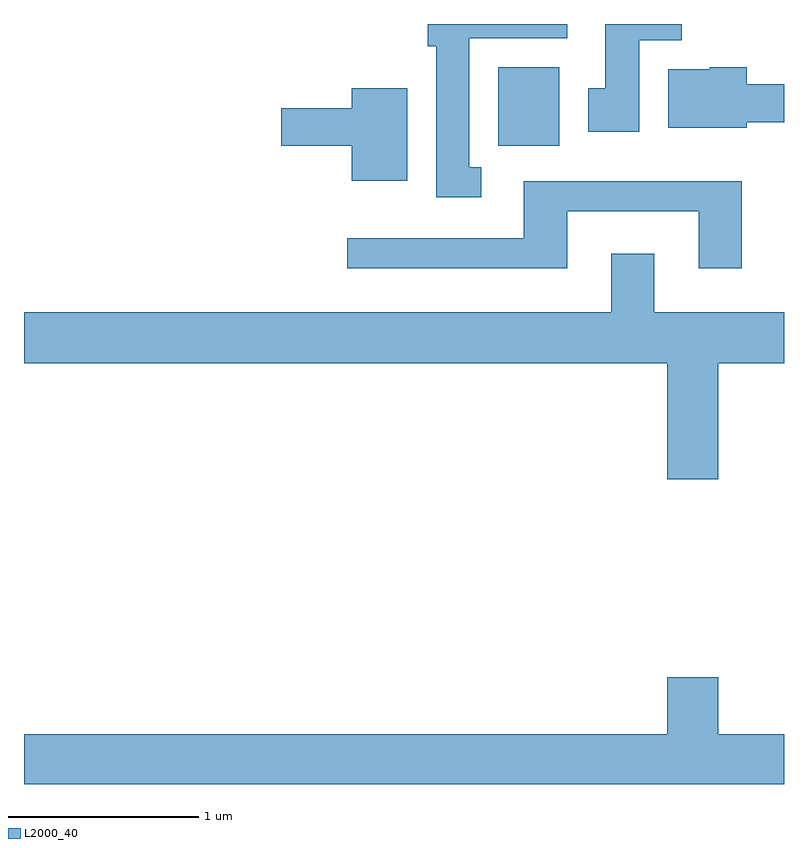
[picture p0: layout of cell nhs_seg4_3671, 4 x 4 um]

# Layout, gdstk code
import gdstk
lib = gdstk.Library(unit=1e-6, precision=1e-09)
def R(c, l, rs):  # rectangles x0, y0, x1, y1
    for r in rs: c.add(gdstk.rectangle(r[:2], r[2:], *l))
def P(c, l, *ps):  # polygons
    for p in ps: c.add(gdstk.Polygon(p, *l))
L2000_40 = (2000, 40)

nhs_seg4_3671 = lib.new_cell('nhs_seg4_3671')
R(nhs_seg4_3671, L2000_40, [(294.106,1391.341,294.429,1391.754)])
P(nhs_seg4_3671, L2000_40, [(294.018,1391.229),(293.954,1391.229),(293.954,1391.906),(294.469,1391.906),(294.469,1391.982),(293.736,1391.982),(293.736,1391.866),(293.781,1391.866),(293.781,1391.071),(294.018,1391.071)],
  [(294.849,1391.896),(295.074,1391.896),(295.074,1391.982),(294.671,1391.982),(294.671,1391.644),(294.581,1391.644),(294.581,1391.416),(294.849,1391.416)],
  [(295.414,1391.466),(295.611,1391.466),(295.611,1391.664),(295.414,1391.664),(295.414,1391.754),(295.22,1391.754),(295.22,1391.744),(295.001,1391.744),(295.001,1391.436),(295.414,1391.436)],
  [(293.629,1391.644),(293.336,1391.644),(293.336,1391.539),(292.966,1391.539),(292.966,1391.341),(293.336,1391.341),(293.336,1391.156),(293.629,1391.156)],
  [(294.469,1390.996),(295.161,1390.996),(295.161,1390.696),(295.389,1390.696),(295.389,1391.154),(294.241,1391.154),(294.241,1390.854),(293.313,1390.854),(293.313,1390.696),(294.469,1390.696)],
  [(295.264,1390.196),(295.611,1390.196),(295.611,1390.464),(294.929,1390.464),(294.929,1390.774),(294.701,1390.774),(294.701,1390.464),(291.611,1390.464),(291.611,1390.196),(294.996,1390.196),(294.996,1389.586),(295.264,1389.586)],
  [(295.611,1388.244),(295.264,1388.244),(295.264,1388.544),(294.996,1388.544),(294.996,1388.244),(291.611,1388.244),(291.611,1387.982),(295.611,1387.982)])

lib.write_gds('nhs_seg4_3671.gds')
